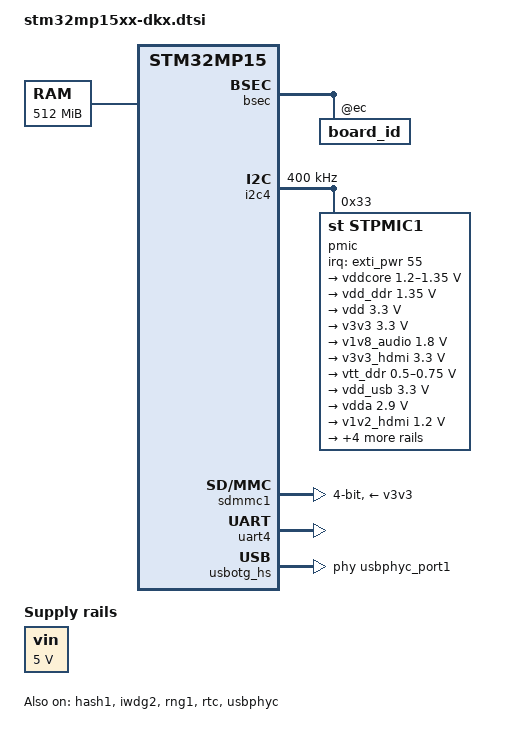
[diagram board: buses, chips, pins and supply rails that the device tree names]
// SPDX-License-Identifier: (GPL-2.0+ OR BSD-3-Clause)
/*
 * Copyright (c) 2019-2021, STMicroelectronics - All Rights Reserved
 * Author: Alexandre Torgue <alexandre.torgue@st.com> for STMicroelectronics.
 */

#include <dt-bindings/clock/stm32mp1-clksrc.h>
#include "stm32mp15-ddr3-1x4Gb-1066-binG.dtsi"

/ {
	memory@c0000000 {
		device_type = "memory";
		reg = <0xc0000000 0x20000000>;
	};

	vin: vin {
		compatible = "regulator-fixed";
		regulator-name = "vin";
		regulator-min-microvolt = <5000000>;
		regulator-max-microvolt = <5000000>;
		regulator-always-on;
	};
};

&bsec {
	board_id: board_id@ec {
		reg = <0xec 0x4>;
		st,non-secure-otp;
	};
};

&clk_hse {
	st,digbypass;
};

&cpu0{
	cpu-supply = <&vddcore>;
};

&cpu1{
	cpu-supply = <&vddcore>;
};

&hash1 {
	status = "okay";
};

&i2c4 {
	pinctrl-names = "default";
	pinctrl-0 = <&i2c4_pins_a>;
	i2c-scl-rising-time-ns = <185>;
	i2c-scl-falling-time-ns = <20>;
	clock-frequency = <400000>;
	status = "okay";

	pmic: stpmic@33 {
		compatible = "st,stpmic1";
		reg = <0x33>;
		interrupts-extended = <&exti_pwr 55 IRQ_TYPE_EDGE_FALLING>;
		interrupt-controller;
		#interrupt-cells = <2>;
		status = "okay";

		regulators {
			compatible = "st,stpmic1-regulators";
			buck1-supply = <&vin>;
			buck2-supply = <&vin>;
			buck3-supply = <&vin>;
			buck4-supply = <&vin>;
			ldo1-supply = <&v3v3>;
			ldo2-supply = <&vin>;
			ldo3-supply = <&vdd_ddr>;
			ldo4-supply = <&vin>;
			ldo5-supply = <&vin>;
			ldo6-supply = <&v3v3>;
			vref_ddr-supply = <&vin>;
			boost-supply = <&vin>;
			pwr_sw1-supply = <&bst_out>;
			pwr_sw2-supply = <&bst_out>;

			vddcore: buck1 {
				regulator-name = "vddcore";
				regulator-min-microvolt = <1200000>;
				regulator-max-microvolt = <1350000>;
				regulator-always-on;
				regulator-initial-mode = <0>;
				regulator-over-current-protection;
			};

			vdd_ddr: buck2 {
				regulator-name = "vdd_ddr";
				regulator-min-microvolt = <1350000>;
				regulator-max-microvolt = <1350000>;
				regulator-always-on;
				regulator-initial-mode = <0>;
				regulator-over-current-protection;
			};

			vdd: buck3 {
				regulator-name = "vdd";
				regulator-min-microvolt = <3300000>;
				regulator-max-microvolt = <3300000>;
				regulator-always-on;
				st,mask-reset;
				regulator-initial-mode = <0>;
				regulator-over-current-protection;
			};

			v3v3: buck4 {
				regulator-name = "v3v3";
				regulator-min-microvolt = <3300000>;
				regulator-max-microvolt = <3300000>;
				regulator-always-on;
				regulator-over-current-protection;
				regulator-initial-mode = <0>;
			};

			v1v8_audio: ldo1 {
				regulator-name = "v1v8_audio";
				regulator-min-microvolt = <1800000>;
				regulator-max-microvolt = <1800000>;
				regulator-always-on;
			};

			v3v3_hdmi: ldo2 {
				regulator-name = "v3v3_hdmi";
				regulator-min-microvolt = <3300000>;
				regulator-max-microvolt = <3300000>;
				regulator-always-on;
			};

			vtt_ddr: ldo3 {
				regulator-name = "vtt_ddr";
				regulator-min-microvolt = <500000>;
				regulator-max-microvolt = <750000>;
				regulator-always-on;
				regulator-over-current-protection;
			};

			vdd_usb: ldo4 {
				regulator-name = "vdd_usb";
				regulator-min-microvolt = <3300000>;
				regulator-max-microvolt = <3300000>;
			};

			vdda: ldo5 {
				regulator-name = "vdda";
				regulator-min-microvolt = <2900000>;
				regulator-max-microvolt = <2900000>;
				regulator-boot-on;
			};

			v1v2_hdmi: ldo6 {
				regulator-name = "v1v2_hdmi";
				regulator-min-microvolt = <1200000>;
				regulator-max-microvolt = <1200000>;
				regulator-always-on;
			};

			vref_ddr: vref_ddr {
				regulator-name = "vref_ddr";
				regulator-always-on;
				regulator-over-current-protection;
			};

			bst_out: boost {
				regulator-name = "bst_out";
			};

			vbus_otg: pwr_sw1 {
				regulator-name = "vbus_otg";
			};

			vbus_sw: pwr_sw2 {
				regulator-name = "vbus_sw";
				regulator-active-discharge = <1>;
			};
		};
	};
};

&iwdg2 {
	timeout-sec = <32>;
	status = "okay";
	secure-status = "okay";
};

&pwr_regulators {
	vdd-supply = <&vdd>;
	vdd_3v3_usbfs-supply = <&vdd_usb>;
};

&rcc {
	secure-status = "disabled";
	st,clksrc = <
		CLK_MPU_PLL1P
		CLK_AXI_PLL2P
		CLK_MCU_PLL3P
		CLK_PLL12_HSE
		CLK_PLL3_HSE
		CLK_PLL4_HSE
		CLK_RTC_LSE
		CLK_MCO1_DISABLED
		CLK_MCO2_DISABLED
	>;

	st,clkdiv = <
		1 /*MPU*/
		0 /*AXI*/
		0 /*MCU*/
		1 /*APB1*/
		1 /*APB2*/
		1 /*APB3*/
		1 /*APB4*/
		2 /*APB5*/
		23 /*RTC*/
		0 /*MCO1*/
		0 /*MCO2*/
	>;

	st,pkcs = <
		CLK_CKPER_HSE
		CLK_FMC_ACLK
		CLK_QSPI_ACLK
		CLK_ETH_PLL4P
		CLK_SDMMC12_PLL4P
		CLK_DSI_DSIPLL
		CLK_STGEN_HSE
		CLK_USBPHY_HSE
		CLK_SPI2S1_PLL3Q
		CLK_SPI2S23_PLL3Q
		CLK_SPI45_HSI
		CLK_SPI6_HSI
		CLK_I2C46_HSI
		CLK_SDMMC3_PLL4P
		CLK_USBO_USBPHY
		CLK_ADC_CKPER
		CLK_CEC_LSE
		CLK_I2C12_HSI
		CLK_I2C35_HSI
		CLK_UART1_HSI
		CLK_UART24_HSI
		CLK_UART35_HSI
		CLK_UART6_HSI
		CLK_UART78_HSI
		CLK_SPDIF_PLL4P
		CLK_FDCAN_PLL4R
		CLK_SAI1_PLL3Q
		CLK_SAI2_PLL3Q
		CLK_SAI3_PLL3Q
		CLK_SAI4_PLL3Q
		CLK_RNG1_LSI
		CLK_RNG2_LSI
		CLK_LPTIM1_PCLK1
		CLK_LPTIM23_PCLK3
		CLK_LPTIM45_LSE
	>;

	/* VCO = 1300.0 MHz => P = 650 (CPU) */
	pll1: st,pll@0 {
		compatible = "st,stm32mp1-pll";
		reg = <0>;
		cfg = < 2 80 0 0 0 PQR(1,0,0) >;
		frac = < 0x800 >;
	};

	/* VCO = 1066.0 MHz => P = 266 (AXI), Q = 533 (GPU), R = 533 (DDR) */
	pll2: st,pll@1 {
		compatible = "st,stm32mp1-pll";
		reg = <1>;
		cfg = <2 65 1 0 0 PQR(1,1,1)>;
		frac = <0x1400>;
	};

	/* VCO = 417.8 MHz => P = 209, Q = 24, R = 11 */
	pll3: st,pll@2 {
		compatible = "st,stm32mp1-pll";
		reg = <2>;
		cfg = <1 33 1 16 36 PQR(1,1,1)>;
		frac = <0x1a04>;
	};

	/* VCO = 594.0 MHz => P = 99, Q = 74, R = 74 */
	pll4: st,pll@3 {
		compatible = "st,stm32mp1-pll";
		reg = <3>;
		cfg = <3 98 5 7 7 PQR(1,1,1)>;
	};
};

&rng1 {
	status = "okay";
};

&rtc {
	status = "okay";
};

&sdmmc1 {
	pinctrl-names = "default";
	pinctrl-0 = <&sdmmc1_b4_pins_a>;
	disable-wp;
	st,neg-edge;
	bus-width = <4>;
	vmmc-supply = <&v3v3>;
	status = "okay";
};

&timers15 {
	secure-status = "okay";
};

&uart4 {
	pinctrl-names = "default";
	pinctrl-0 = <&uart4_pins_a>;
	status = "okay";
};

&uart7 {
	pinctrl-names = "default";
	pinctrl-0 = <&uart7_pins_c>;
	status = "disabled";
};

&usart3 {
	pinctrl-names = "default";
	pinctrl-0 = <&usart3_pins_c>;
	uart-has-rtscts;
	status = "disabled";
};

&usbotg_hs {
	phys = <&usbphyc_port1 0>;
	phy-names = "usb2-phy";
	usb-role-switch;
	status = "okay";
};

&usbphyc {
	status = "okay";
};

&usbphyc_port0 {
	phy-supply = <&vdd_usb>;
};

&usbphyc_port1 {
	phy-supply = <&vdd_usb>;
};
